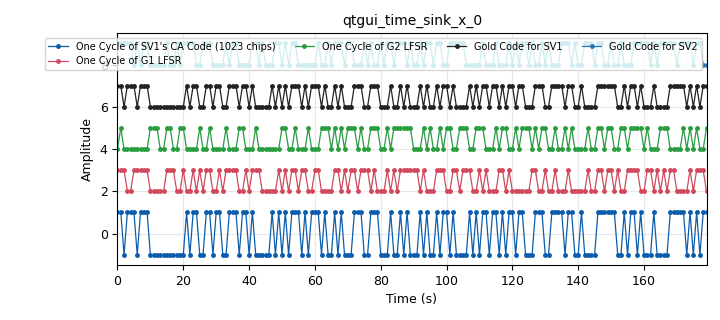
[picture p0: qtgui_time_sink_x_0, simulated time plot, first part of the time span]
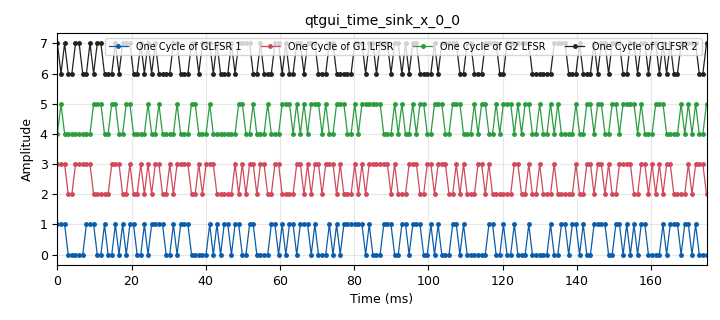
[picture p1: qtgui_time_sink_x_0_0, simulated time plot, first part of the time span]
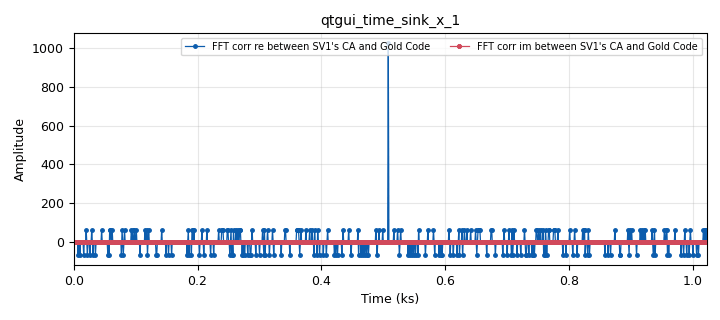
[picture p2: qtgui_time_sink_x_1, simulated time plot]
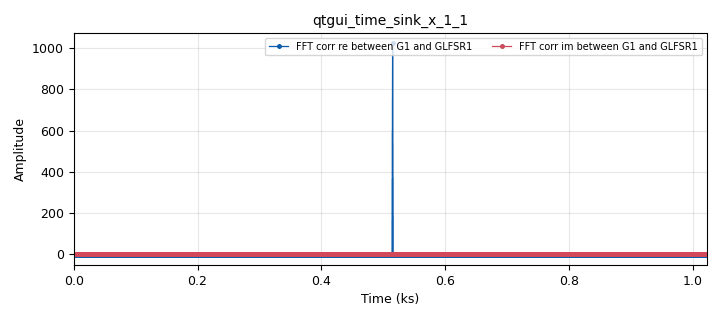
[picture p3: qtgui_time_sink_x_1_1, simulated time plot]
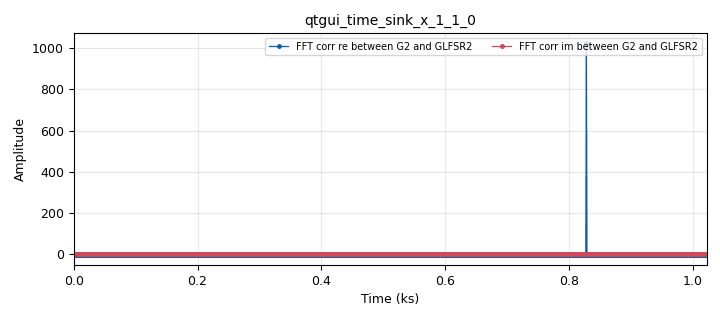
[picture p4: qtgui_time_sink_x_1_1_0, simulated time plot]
options:
  parameters:
    author: jason
    generate_options: qt_gui
    generator_class_name: PythonQtGuiGenerator
    generator_module: gnuradio.grc.workflows.python_qt_gui
    id: lesson22_GPS_cacode_Gold_Code_LFSR_check_known_cacodes
    output_language: python
    title: GPS_cacode_Gold_Code_LFSR
  states: {}

blocks:
- name: GPS_ID
  id: variable
  parameters:
    value: '1'
  states: {}
- name: samp_rate
  id: variable
  parameters:
    value: 1023e3
  states: {}
- name: vector_size
  id: variable
  parameters:
    value: 2**10-1
  states: {}
- name: vector_size_0
  id: variable
  parameters:
    value: 2**10-1
  states: {}
- name: vector_size_0_0
  id: variable
  parameters:
    value: 2**10-1
  states: {}
- name: GPScacodes
  id: epy_module
  parameters:
    comment: |-
      C/A codes computed here instead of
      being read from GPScacodes.py
    source_code: |
      # GPS C/A (Gold) codes, generated from the two 10-stage LFSRs (see Lessons 21-22).
      # cacodes[prn] is a list of 1023 chips, +1/-1, for PRN 1..32 (the same convention as the
      # old GPScacodes.py file: shift-register bit 1 -> +1, bit 0 -> -1).
      TAPS = {1: (2, 6), 2: (3, 7), 3: (4, 8), 4: (5, 9), 5: (1, 9), 6: (2, 10), 7: (1, 8), 8: (2, 9),
              9: (3, 10), 10: (2, 3), 11: (3, 4), 12: (5, 6), 13: (6, 7), 14: (7, 8), 15: (8, 9), 16: (9, 10),
              17: (1, 4), 18: (2, 5), 19: (3, 6), 20: (4, 7), 21: (5, 8), 22: (6, 9), 23: (1, 3), 24: (4, 6),
              25: (5, 7), 26: (6, 8), 27: (7, 9), 28: (8, 10), 29: (1, 6), 30: (2, 7), 31: (3, 8), 32: (4, 9)}

      def cacode(prn):
          g1 = [1] * 10
          g2 = [1] * 10
          t1, t2 = TAPS[prn]
          chips = []
          for _ in range(1023):
              bit = g1[9] ^ g2[t1 - 1] ^ g2[t2 - 1]
              chips.append(2 * bit - 1)
              f1 = g1[2] ^ g1[9]                                   # G1 taps 3, 10
              f2 = g2[1] ^ g2[2] ^ g2[5] ^ g2[7] ^ g2[8] ^ g2[9]   # G2 taps 2, 3, 6, 8, 9, 10
              g1 = [f1] + g1[:9]
              g2 = [f2] + g2[:9]
          return chips

      cacodes = [None] + [cacode(prn) for prn in range(1, 33)]
  states: {}
- name: analog_const_source_x_0
  id: analog_const_source_x
  parameters:
    const: '0'
    type: byte
  states: {}
- name: analog_const_source_x_1
  id: analog_const_source_x
  parameters:
    const: '0'
    type: float
  states: {}
- name: analog_const_source_x_1_0
  id: analog_const_source_x
  parameters:
    const: '0'
    type: float
  states: {}
- name: analog_const_source_x_1_0_0
  id: analog_const_source_x
  parameters:
    const: '0'
    type: float
  states: {}
- name: blocks_add_const_vxx_0
  id: blocks_add_const_vxx
  parameters:
    comment: offset plot
    const: '2'
    type: byte
  states: {}
- name: blocks_add_const_vxx_0_0
  id: blocks_add_const_vxx
  parameters:
    comment: offset plot
    const: '4'
    type: byte
  states: {}
- name: blocks_add_const_vxx_0_0_0
  id: blocks_add_const_vxx
  parameters:
    comment: offset plot
    const: '6'
    type: byte
  states: {}
- name: blocks_add_const_vxx_0_0_0_0
  id: blocks_add_const_vxx
  parameters:
    comment: offset plot
    const: '8'
    type: byte
  states: {}
- name: blocks_add_const_vxx_1
  id: blocks_add_const_vxx
  parameters:
    const: '6'
    type: float
  states: {}
- name: blocks_add_const_vxx_2
  id: blocks_add_const_vxx
  parameters:
    const: '1'
    type: float
  states: {}
- name: blocks_add_const_vxx_2_0
  id: blocks_add_const_vxx
  parameters:
    const: '1'
    type: float
  states: {}
- name: blocks_char_to_float_0_0_0
  id: blocks_char_to_float
  parameters:
    scale: '1'
  states: {}
- name: blocks_char_to_float_0_0_0_0
  id: blocks_char_to_float
  parameters:
    scale: '1'
  states: {}
- name: blocks_char_to_float_0_0_0_0_0
  id: blocks_char_to_float
  parameters:
    scale: '1'
  states: {}
- name: blocks_char_to_float_0_0_0_0_0_0
  id: blocks_char_to_float
  parameters:
    scale: '1'
  states: {}
- name: blocks_char_to_float_0_0_0_0_0_1
  id: blocks_char_to_float
  parameters:
    scale: '1'
  states: {}
- name: blocks_char_to_float_0_0_0_0_0_1_0
  id: blocks_char_to_float
  parameters:
    scale: '1'
  states: {}
- name: blocks_char_to_float_0_0_0_0_0_1_0_0
  id: blocks_char_to_float
  parameters:
    scale: '1'
  states: {}
- name: blocks_char_to_float_0_0_0_0_0_1_0_1
  id: blocks_char_to_float
  parameters:
    scale: '1'
  states: {}
- name: blocks_char_to_float_0_0_0_0_0_1_0_2
  id: blocks_char_to_float
  parameters:
    scale: '1'
  states: {}
- name: blocks_char_to_float_0_0_0_3
  id: blocks_char_to_float
  parameters:
    scale: '1'
  states: {}
- name: blocks_char_to_float_0_0_0_3_1
  id: blocks_char_to_float
  parameters:
    scale: '1'
  states: {}
- name: blocks_delay_0
  id: blocks_delay
  parameters:
    comment: '1'
    delay: '1'
    type: byte
  states: {}
- name: blocks_delay_0_0
  id: blocks_delay
  parameters:
    comment: '2'
    delay: '1'
    type: byte
  states: {}
- name: blocks_delay_0_0_0
  id: blocks_delay
  parameters:
    comment: '3'
    delay: '1'
    type: byte
  states: {}
- name: blocks_delay_0_0_0_0
  id: blocks_delay
  parameters:
    comment: '4'
    delay: '1'
    type: byte
  states: {}
- name: blocks_delay_0_0_0_0_0
  id: blocks_delay
  parameters:
    comment: '5'
    delay: '1'
    type: byte
  states: {}
- name: blocks_delay_0_0_0_0_0_0
  id: blocks_delay
  parameters:
    comment: '6'
    delay: '1'
    type: byte
  states: {}
- name: blocks_delay_0_0_0_0_0_0_0
  id: blocks_delay
  parameters:
    comment: '7'
    delay: '1'
    type: byte
  states: {}
- name: blocks_delay_0_0_0_0_0_0_0_0
  id: blocks_delay
  parameters:
    comment: '10'
    delay: '1'
    type: byte
  states: {}
- name: blocks_delay_0_0_0_0_0_0_0_0_0
  id: blocks_delay
  parameters:
    comment: '10'
    delay: '1'
    type: byte
  states: {}
- name: blocks_delay_0_0_0_0_0_0_0_0_0_0
  id: blocks_delay
  parameters:
    comment: '10'
    delay: '1'
    type: byte
  states: {}
- name: blocks_delay_0_0_0_0_0_0_0_0_0_0_0
  id: blocks_delay
  parameters:
    comment: '10'
    delay: '1'
    type: byte
  states: {}
- name: blocks_delay_0_0_0_0_0_0_0_1
  id: blocks_delay
  parameters:
    comment: '7'
    delay: '1'
    type: byte
  states: {}
- name: blocks_delay_0_0_0_0_0_0_0_1_0
  id: blocks_delay
  parameters:
    comment: '7'
    delay: '1'
    type: byte
  states: {}
- name: blocks_delay_0_0_0_0_0_0_0_1_0_0
  id: blocks_delay
  parameters:
    comment: '7'
    delay: '1'
    type: byte
  states: {}
- name: blocks_delay_0_0_0_0_0_0_1
  id: blocks_delay
  parameters:
    comment: '9'
    delay: '1'
    type: byte
  states: {}
- name: blocks_delay_0_0_0_0_0_0_1_0
  id: blocks_delay
  parameters:
    comment: '9'
    delay: '1'
    type: byte
  states: {}
- name: blocks_delay_0_0_0_0_0_0_1_0_0
  id: blocks_delay
  parameters:
    comment: '9'
    delay: '1'
    type: byte
  states: {}
- name: blocks_delay_0_0_0_0_0_0_1_0_0_0
  id: blocks_delay
  parameters:
    comment: '9'
    delay: '1'
    type: byte
  states: {}
- name: blocks_delay_0_0_0_0_0_0_2
  id: blocks_delay
  parameters:
    comment: '6'
    delay: '1'
    type: byte
  states: {}
- name: blocks_delay_0_0_0_0_0_0_2_0
  id: blocks_delay
  parameters:
    comment: '6'
    delay: '1'
    type: byte
  states: {}
- name: blocks_delay_0_0_0_0_0_0_2_0_0
  id: blocks_delay
  parameters:
    comment: '6'
    delay: '1'
    type: byte
  states: {}
- name: blocks_delay_0_0_0_0_0_1
  id: blocks_delay
  parameters:
    comment: '8'
    delay: '1'
    type: byte
  states: {}
- name: blocks_delay_0_0_0_0_0_1_0
  id: blocks_delay
  parameters:
    comment: '8'
    delay: '1'
    type: byte
  states: {}
- name: blocks_delay_0_0_0_0_0_1_0_0
  id: blocks_delay
  parameters:
    comment: '8'
    delay: '1'
    type: byte
  states: {}
- name: blocks_delay_0_0_0_0_0_1_0_0_0
  id: blocks_delay
  parameters:
    comment: '8'
    delay: '1'
    type: byte
  states: {}
- name: blocks_delay_0_0_0_0_0_2
  id: blocks_delay
  parameters:
    comment: '5'
    delay: '1'
    type: byte
  states: {}
- name: blocks_delay_0_0_0_0_0_2_0
  id: blocks_delay
  parameters:
    comment: '5'
    delay: '1'
    type: byte
  states: {}
- name: blocks_delay_0_0_0_0_0_2_0_0
  id: blocks_delay
  parameters:
    comment: '5'
    delay: '1'
    type: byte
  states: {}
- name: blocks_delay_0_0_0_0_1
  id: blocks_delay
  parameters:
    comment: '4'
    delay: '1'
    type: byte
  states: {}
- name: blocks_delay_0_0_0_0_1_0
  id: blocks_delay
  parameters:
    comment: '4'
    delay: '1'
    type: byte
  states: {}
- name: blocks_delay_0_0_0_0_1_0_0
  id: blocks_delay
  parameters:
    comment: '4'
    delay: '1'
    type: byte
  states: {}
- name: blocks_delay_0_0_0_1
  id: blocks_delay
  parameters:
    comment: '3'
    delay: '1'
    type: byte
  states: {}
- name: blocks_delay_0_0_0_1_0
  id: blocks_delay
  parameters:
    comment: '3'
    delay: '1'
    type: byte
  states: {}
- name: blocks_delay_0_0_0_1_0_0
  id: blocks_delay
  parameters:
    comment: '3'
    delay: '1'
    type: byte
  states: {}
- name: blocks_delay_0_0_1
  id: blocks_delay
  parameters:
    comment: '2'
    delay: '1'
    type: byte
  states: {}
- name: blocks_delay_0_0_1_0
  id: blocks_delay
  parameters:
    comment: '2'
    delay: '1'
    type: byte
  states: {}
- name: blocks_delay_0_0_1_0_0
  id: blocks_delay
  parameters:
    comment: '2'
    delay: '1'
    type: byte
  states: {}
- name: blocks_delay_0_1
  id: blocks_delay
  parameters:
    comment: '1'
    delay: '1'
    type: byte
  states: {}
- name: blocks_delay_0_1_0
  id: blocks_delay
  parameters:
    comment: '1'
    delay: '1'
    type: byte
  states: {}
- name: blocks_delay_0_1_0_0
  id: blocks_delay
  parameters:
    comment: '1'
    delay: '1'
    type: byte
  states: {}
- name: blocks_delay_0_1_0_0_0
  id: blocks_delay
  parameters:
    comment: |-
      to allow the Delay blocks
      in the Scrambler LFSR
      to populate with valid data
    delay: '10'
    type: float
  states: {}
- name: blocks_float_to_char_0
  id: blocks_float_to_char
  parameters:
    scale: '.5'
  states: {}
- name: blocks_float_to_char_0_0
  id: blocks_float_to_char
  parameters:
    scale: '.5'
  states: {}
- name: blocks_float_to_complex_0
  id: blocks_float_to_complex
  parameters: {}
  states: {}
- name: blocks_float_to_complex_0_0
  id: blocks_float_to_complex
  parameters: {}
  states: {}
- name: blocks_float_to_complex_0_0_0
  id: blocks_float_to_complex
  parameters: {}
  states: {}
- name: blocks_float_to_complex_1
  id: blocks_float_to_complex
  parameters: {}
  states: {}
- name: blocks_float_to_complex_1_0
  id: blocks_float_to_complex
  parameters: {}
  states: {}
- name: blocks_float_to_complex_1_0_0
  id: blocks_float_to_complex
  parameters: {}
  states: {}
- name: blocks_multiply_conjugate_cc_0
  id: blocks_multiply_conjugate_cc
  parameters:
    vlen: vector_size
  states: {}
- name: blocks_multiply_conjugate_cc_0_0
  id: blocks_multiply_conjugate_cc
  parameters:
    vlen: vector_size
  states: {}
- name: blocks_multiply_conjugate_cc_0_0_0
  id: blocks_multiply_conjugate_cc
  parameters:
    vlen: vector_size
  states: {}
- name: blocks_multiply_const_vxx_0
  id: blocks_multiply_const_vxx
  parameters:
    const: '[1/vector_size]*vector_size'
    type: complex
    vlen: vector_size
  states: {}
- name: blocks_multiply_const_vxx_0_0
  id: blocks_multiply_const_vxx
  parameters:
    const: '[1/vector_size]*vector_size'
    type: complex
    vlen: vector_size
  states: {}
- name: blocks_multiply_const_vxx_0_0_0
  id: blocks_multiply_const_vxx
  parameters:
    const: '[1/vector_size]*vector_size'
    type: complex
    vlen: vector_size
  states: {}
- name: blocks_stream_to_vector_0_0
  id: blocks_stream_to_vector
  parameters:
    num_items: vector_size
    type: complex
  states: {}
- name: blocks_stream_to_vector_0_0_0
  id: blocks_stream_to_vector
  parameters:
    num_items: vector_size
    type: complex
  states: {}
- name: blocks_stream_to_vector_0_0_0_0
  id: blocks_stream_to_vector
  parameters:
    num_items: vector_size
    type: complex
  states: {}
- name: blocks_stream_to_vector_0_0_0_0_0
  id: blocks_stream_to_vector
  parameters:
    num_items: vector_size
    type: complex
  states: {}
- name: blocks_stream_to_vector_0_0_1
  id: blocks_stream_to_vector
  parameters:
    num_items: vector_size
    type: complex
  states: {}
- name: blocks_stream_to_vector_0_0_1_0
  id: blocks_stream_to_vector
  parameters:
    num_items: vector_size
    type: complex
  states: {}
- name: blocks_throttle_0
  id: blocks_throttle2
  parameters:
    samples_per_second: samp_rate
    type: float
  states: {}
- name: blocks_vector_source_x_0
  id: blocks_vector_source_x
  parameters:
    repeat: 'True'
    type: float
    vector: GPScacodes.cacodes[GPS_ID]
  states: {}
- name: blocks_vector_to_stream_0
  id: blocks_vector_to_stream
  parameters:
    num_items: vector_size
    type: complex
  states: {}
- name: blocks_vector_to_stream_0_0
  id: blocks_vector_to_stream
  parameters:
    num_items: vector_size
    type: complex
  states: {}
- name: blocks_vector_to_stream_0_0_0
  id: blocks_vector_to_stream
  parameters:
    num_items: vector_size
    type: complex
  states: {}
- name: blocks_xor_xx_0
  id: blocks_xor_xx
  parameters:
    comment: SV1 taps 2,6
    type: byte
  states: {}
- name: blocks_xor_xx_0_0
  id: blocks_xor_xx
  parameters:
    comment: SV2 taps 3,7
    type: byte
  states: {}
- name: blocks_xor_xx_1
  id: blocks_xor_xx
  parameters:
    comment: SV1 cacode
    type: byte
  states: {}
- name: blocks_xor_xx_1_0
  id: blocks_xor_xx
  parameters:
    comment: SV2 cacode
    type: byte
  states: {}
- name: digital_glfsr_source_x_0
  id: digital_glfsr_source_x
  parameters:
    comment: |-
      Default for 10 is a shifted
      version G1 LFSR: LFSR: x^10+x^3+1
      Looks like you need to subtract 1 from each power in the mask
      This becomes 2**(10-1) + 2**(3-1).
      Or you could do it normally and then shift right by 1.
      The difference between GLFSR and Scrambler LFSR 
      is a shift, but the amount of shift depends on the polynomial.
      Also, this outputs a float +1 and -1 and needs to be turned into 0s and 1s
    degree: '10'
    mask: 2**(10-1) + 2**(3-1)
    repeat: 'True'
    seed: 2**10-1
    type: float
  states: {}
- name: digital_glfsr_source_x_1
  id: digital_glfsr_source_x
  parameters:
    degree: '10'
    mask: 2**(10-1) + 2**(9-1) + 2**(8-1) + 2**(6-1) + 2**(3-1) + 2**(2-1)
    repeat: 'True'
    seed: 2**10-1
    type: float
  states: {}
- name: digital_map_bb_0
  id: digital_map_bb
  parameters:
    map: '[-1,1]'
  states: {}
- name: digital_map_bb_0_0
  id: digital_map_bb
  parameters:
    map: '[-1,1]'
  states: {}
- name: digital_map_bb_0_0_0
  id: digital_map_bb
  parameters:
    map: '[-1,1]'
  states: {}
- name: digital_map_bb_0_0_1
  id: digital_map_bb
  parameters:
    map: '[-1,1]'
  states: {}
- name: digital_map_bb_0_0_2
  id: digital_map_bb
  parameters:
    map: '[-1,1]'
  states: {}
- name: digital_scrambler_bb_1_0
  id: digital_scrambler_bb
  parameters:
    comment: |-
      G1 LFSR: x^10+x^3+1
      For the scrambler,
      length really means length-1
      GPS documentation's definition 
      of the bits is the opposite order
    len: 10-1
    mask: 2**(10-10) + 2**(10-3)
    seed: 2**10-1
  states: {}
- name: digital_scrambler_bb_1_0_0
  id: digital_scrambler_bb
  parameters:
    comment: 'G2 LFSR:  x^10+x^9+x^8+x^6+x^3+x^2+1'
    len: 10-1
    mask: 2**(10-10) + 2**(10-9) + 2**(10-8) + 2**(10-6) + 2**(10-3) + 2**(10-2)
    seed: 2**10-1
  states: {}
- name: fft_vxx_0
  id: fft_vxx
  parameters:
    fft_size: vector_size
    forward: 'True'
    shift: 'False'
    type: complex
    window: window.rectangular(vector_size)
  states: {}
- name: fft_vxx_0_0
  id: fft_vxx
  parameters:
    fft_size: vector_size
    forward: 'True'
    shift: 'False'
    type: complex
    window: window.rectangular(vector_size)
  states: {}
- name: fft_vxx_0_0_0
  id: fft_vxx
  parameters:
    fft_size: vector_size
    forward: 'True'
    shift: 'False'
    type: complex
    window: window.rectangular(vector_size)
  states: {}
- name: fft_vxx_0_0_0_0
  id: fft_vxx
  parameters:
    fft_size: vector_size
    forward: 'True'
    shift: 'False'
    type: complex
    window: window.rectangular(vector_size)
  states: {}
- name: fft_vxx_0_1
  id: fft_vxx
  parameters:
    fft_size: vector_size
    forward: 'True'
    shift: 'False'
    type: complex
    window: window.rectangular(vector_size)
  states: {}
- name: fft_vxx_0_1_0
  id: fft_vxx
  parameters:
    fft_size: vector_size
    forward: 'True'
    shift: 'False'
    type: complex
    window: window.rectangular(vector_size)
  states: {}
- name: fft_vxx_1
  id: fft_vxx
  parameters:
    fft_size: vector_size
    forward: 'False'
    shift: 'False'
    type: complex
    window: window.rectangular(vector_size)
  states: {}
- name: fft_vxx_1_0
  id: fft_vxx
  parameters:
    fft_size: vector_size
    forward: 'False'
    shift: 'False'
    type: complex
    window: window.rectangular(vector_size)
  states: {}
- name: fft_vxx_1_0_0
  id: fft_vxx
  parameters:
    fft_size: vector_size
    forward: 'False'
    shift: 'False'
    type: complex
    window: window.rectangular(vector_size)
  states: {}
- name: gps_taps_note
  id: note
  parameters:
    comment: |-
      GPS C/A code: G2 taps for each satellite (IS-GPS-200, Table 3-Ia)
      C/A = G1[10] xor G2[t1] xor G2[t2]   (delay n = tap n)
      PRN 1: 2,6    PRN 2: 3,7    PRN 3: 4,8    PRN 4: 5,9
      PRN 5: 1,9    PRN 6: 2,10   PRN 7: 1,8    PRN 8: 2,9
      PRN 9: 3,10   PRN 10: 2,3   PRN 11: 3,4   PRN 12: 5,6
      PRN 13: 6,7   PRN 14: 7,8   PRN 15: 8,9   PRN 16: 9,10
      PRN 17: 1,4   PRN 18: 2,5   PRN 19: 3,6   PRN 20: 4,7
      PRN 21: 5,8   PRN 22: 6,9   PRN 23: 1,3   PRN 24: 4,6
      PRN 25: 5,7   PRN 26: 6,8   PRN 27: 7,9   PRN 28: 8,10
      PRN 29: 1,6   PRN 30: 2,7   PRN 31: 3,8   PRN 32: 4,9
      (All 32 verified against the IS-GPS-200 first-10-chip table, Oct 2026.)
    note: G2 taps for every GPS satellite
  states: {}
- name: qtgui_time_sink_x_0
  id: qtgui_time_sink_x
  parameters:
    autoscale: 'True'
    label1: One Cycle of SV1's CA Code (1023 chips)
    label2: One Cycle of G1 LFSR
    label3: One Cycle of G2 LFSR
    label4: Gold Code for SV1
    label5: Gold Code for SV2
    marker1: '0'
    marker2: '0'
    marker3: '0'
    marker4: '0'
    marker5: '0'
    nconnections: '5'
    size: '1023'
    srate: '1'
    type: float
  states: {}
- name: qtgui_time_sink_x_0_0
  id: qtgui_time_sink_x
  parameters:
    autoscale: 'True'
    label1: One Cycle of GLFSR 1
    label2: One Cycle of G1 LFSR
    label3: One Cycle of G2 LFSR
    label4: One Cycle of GLFSR 2
    marker1: '0'
    marker2: '0'
    marker3: '0'
    marker4: '0'
    nconnections: '4'
    size: '1023'
    srate: '1023'
    type: float
  states: {}
- name: qtgui_time_sink_x_1
  id: qtgui_time_sink_x
  parameters:
    autoscale: 'True'
    label1: FFT corr re between SV1's CA and Gold Code
    label2: FFT corr im between SV1's CA and Gold Code
    marker1: '0'
    marker2: '0'
    size: vector_size
    srate: '1'
    type: complex
  states: {}
- name: qtgui_time_sink_x_1_1
  id: qtgui_time_sink_x
  parameters:
    autoscale: 'True'
    label1: FFT corr re between G1 and GLFSR1
    label2: FFT corr im between G1 and GLFSR1
    marker1: '0'
    marker2: '0'
    size: vector_size
    srate: '1'
    type: complex
  states: {}
- name: qtgui_time_sink_x_1_1_0
  id: qtgui_time_sink_x
  parameters:
    autoscale: 'True'
    label1: FFT corr re between G2 and GLFSR2
    label2: FFT corr im between G2 and GLFSR2
    marker1: '0'
    marker2: '0'
    size: vector_size
    srate: '1'
    type: complex
  states: {}
- name: virtual_sink_0
  id: virtual_sink
  parameters:
    stream_id: GLFSR1
  states: {}
- name: virtual_sink_0_0
  id: virtual_sink
  parameters:
    stream_id: GLFSR2
  states: {}
- name: virtual_sink_0_0_0
  id: virtual_sink
  parameters:
    stream_id: G2
  states: {}
- name: virtual_sink_0_0_0_0
  id: virtual_sink
  parameters:
    stream_id: G1
  states: {}
- name: virtual_sink_0_0_0_2
  id: virtual_sink
  parameters:
    stream_id: SV1CA
  states: {}
- name: virtual_sink_0_0_0_2_0
  id: virtual_sink
  parameters:
    stream_id: SV2CA
  states: {}
- name: virtual_source_0
  id: virtual_source
  parameters:
    stream_id: SV1CA
  states: {}
- name: virtual_source_0_0
  id: virtual_source
  parameters:
    stream_id: G1
  states: {}
- name: virtual_source_0_1
  id: virtual_source
  parameters:
    stream_id: GLFSR1
  states: {}
- name: virtual_source_0_2
  id: virtual_source
  parameters:
    stream_id: G2
  states: {}
- name: virtual_source_0_3
  id: virtual_source
  parameters:
    stream_id: GLFSR2
  states: {}

connections:
- [analog_const_source_x_0, '0', digital_scrambler_bb_1_0, '0']
- [analog_const_source_x_0, '0', digital_scrambler_bb_1_0_0, '0']
- [analog_const_source_x_1, '0', blocks_float_to_complex_0, '1']
- [analog_const_source_x_1, '0', blocks_float_to_complex_1, '1']
- [analog_const_source_x_1_0, '0', blocks_float_to_complex_0_0, '1']
- [analog_const_source_x_1_0, '0', blocks_float_to_complex_1_0, '1']
- [analog_const_source_x_1_0_0, '0', blocks_float_to_complex_0_0_0, '1']
- [analog_const_source_x_1_0_0, '0', blocks_float_to_complex_1_0_0, '1']
- [blocks_add_const_vxx_0, '0', blocks_char_to_float_0_0_0, '0']
- [blocks_add_const_vxx_0_0, '0', blocks_char_to_float_0_0_0_0, '0']
- [blocks_add_const_vxx_0_0_0, '0', blocks_char_to_float_0_0_0_0_0, '0']
- [blocks_add_const_vxx_0_0_0_0, '0', blocks_char_to_float_0_0_0_0_0_0, '0']
- [blocks_add_const_vxx_1, '0', qtgui_time_sink_x_0_0, '3']
- [blocks_add_const_vxx_2, '0', blocks_float_to_char_0, '0']
- [blocks_add_const_vxx_2_0, '0', blocks_float_to_char_0_0, '0']
- [blocks_char_to_float_0_0_0, '0', qtgui_time_sink_x_0, '1']
- [blocks_char_to_float_0_0_0, '0', qtgui_time_sink_x_0_0, '1']
- [blocks_char_to_float_0_0_0_0, '0', qtgui_time_sink_x_0, '2']
- [blocks_char_to_float_0_0_0_0, '0', qtgui_time_sink_x_0_0, '2']
- [blocks_char_to_float_0_0_0_0_0, '0', qtgui_time_sink_x_0, '3']
- [blocks_char_to_float_0_0_0_0_0_0, '0', qtgui_time_sink_x_0, '4']
- [blocks_char_to_float_0_0_0_0_0_1, '0', blocks_float_to_complex_1, '0']
- [blocks_char_to_float_0_0_0_0_0_1_0, '0', blocks_float_to_complex_0_0, '0']
- [blocks_char_to_float_0_0_0_0_0_1_0_0, '0', blocks_float_to_complex_1_0, '0']
- [blocks_char_to_float_0_0_0_0_0_1_0_1, '0', blocks_float_to_complex_0_0_0, '0']
- [blocks_char_to_float_0_0_0_0_0_1_0_2, '0', blocks_float_to_complex_1_0_0, '0']
- [blocks_char_to_float_0_0_0_3, '0', qtgui_time_sink_x_0_0, '0']
- [blocks_char_to_float_0_0_0_3_1, '0', blocks_add_const_vxx_1, '0']
- [blocks_delay_0, '0', blocks_delay_0_0, '0']
- [blocks_delay_0_0, '0', blocks_delay_0_0_0, '0']
- [blocks_delay_0_0, '0', blocks_xor_xx_0, '1']
- [blocks_delay_0_0_0, '0', blocks_delay_0_0_0_0, '0']
- [blocks_delay_0_0_0, '0', blocks_xor_xx_0_0, '1']
- [blocks_delay_0_0_0_0, '0', blocks_delay_0_0_0_0_0, '0']
- [blocks_delay_0_0_0_0_0, '0', blocks_delay_0_0_0_0_0_0, '0']
- [blocks_delay_0_0_0_0_0_0, '0', blocks_delay_0_0_0_0_0_0_0, '0']
- [blocks_delay_0_0_0_0_0_0, '0', blocks_xor_xx_0, '0']
- [blocks_delay_0_0_0_0_0_0_0, '0', blocks_delay_0_0_0_0_0_1, '0']
- [blocks_delay_0_0_0_0_0_0_0, '0', blocks_xor_xx_0_0, '0']
- [blocks_delay_0_0_0_0_0_0_0_0, '0', blocks_add_const_vxx_0_0, '0']
- [blocks_delay_0_0_0_0_0_0_0_0, '0', virtual_sink_0_0_0, '0']
- [blocks_delay_0_0_0_0_0_0_0_0_0, '0', blocks_add_const_vxx_0, '0']
- [blocks_delay_0_0_0_0_0_0_0_0_0, '0', blocks_xor_xx_1, '0']
- [blocks_delay_0_0_0_0_0_0_0_0_0, '0', blocks_xor_xx_1_0, '0']
- [blocks_delay_0_0_0_0_0_0_0_0_0, '0', virtual_sink_0_0_0_0, '0']
- [blocks_delay_0_0_0_0_0_0_0_0_0_0, '0', blocks_char_to_float_0_0_0_3, '0']
- [blocks_delay_0_0_0_0_0_0_0_0_0_0, '0', virtual_sink_0, '0']
- [blocks_delay_0_0_0_0_0_0_0_0_0_0_0, '0', blocks_char_to_float_0_0_0_3_1, '0']
- [blocks_delay_0_0_0_0_0_0_0_0_0_0_0, '0', virtual_sink_0_0, '0']
- [blocks_delay_0_0_0_0_0_0_0_1, '0', blocks_delay_0_0_0_0_0_1_0, '0']
- [blocks_delay_0_0_0_0_0_0_0_1_0, '0', blocks_delay_0_0_0_0_0_1_0_0, '0']
- [blocks_delay_0_0_0_0_0_0_0_1_0_0, '0', blocks_delay_0_0_0_0_0_1_0_0_0, '0']
- [blocks_delay_0_0_0_0_0_0_1, '0', blocks_delay_0_0_0_0_0_0_0_0, '0']
- [blocks_delay_0_0_0_0_0_0_1_0, '0', blocks_delay_0_0_0_0_0_0_0_0_0, '0']
- [blocks_delay_0_0_0_0_0_0_1_0_0, '0', blocks_delay_0_0_0_0_0_0_0_0_0_0, '0']
- [blocks_delay_0_0_0_0_0_0_1_0_0_0, '0', blocks_delay_0_0_0_0_0_0_0_0_0_0_0, '0']
- [blocks_delay_0_0_0_0_0_0_2, '0', blocks_delay_0_0_0_0_0_0_0_1, '0']
- [blocks_delay_0_0_0_0_0_0_2_0, '0', blocks_delay_0_0_0_0_0_0_0_1_0, '0']
- [blocks_delay_0_0_0_0_0_0_2_0_0, '0', blocks_delay_0_0_0_0_0_0_0_1_0_0, '0']
- [blocks_delay_0_0_0_0_0_1, '0', blocks_delay_0_0_0_0_0_0_1, '0']
- [blocks_delay_0_0_0_0_0_1_0, '0', blocks_delay_0_0_0_0_0_0_1_0, '0']
- [blocks_delay_0_0_0_0_0_1_0_0, '0', blocks_delay_0_0_0_0_0_0_1_0_0, '0']
- [blocks_delay_0_0_0_0_0_1_0_0_0, '0', blocks_delay_0_0_0_0_0_0_1_0_0_0, '0']
- [blocks_delay_0_0_0_0_0_2, '0', blocks_delay_0_0_0_0_0_0_2, '0']
- [blocks_delay_0_0_0_0_0_2_0, '0', blocks_delay_0_0_0_0_0_0_2_0, '0']
- [blocks_delay_0_0_0_0_0_2_0_0, '0', blocks_delay_0_0_0_0_0_0_2_0_0, '0']
- [blocks_delay_0_0_0_0_1, '0', blocks_delay_0_0_0_0_0_2, '0']
- [blocks_delay_0_0_0_0_1_0, '0', blocks_delay_0_0_0_0_0_2_0, '0']
- [blocks_delay_0_0_0_0_1_0_0, '0', blocks_delay_0_0_0_0_0_2_0_0, '0']
- [blocks_delay_0_0_0_1, '0', blocks_delay_0_0_0_0_1, '0']
- [blocks_delay_0_0_0_1_0, '0', blocks_delay_0_0_0_0_1_0, '0']
- [blocks_delay_0_0_0_1_0_0, '0', blocks_delay_0_0_0_0_1_0_0, '0']
- [blocks_delay_0_0_1, '0', blocks_delay_0_0_0_1, '0']
- [blocks_delay_0_0_1_0, '0', blocks_delay_0_0_0_1_0, '0']
- [blocks_delay_0_0_1_0_0, '0', blocks_delay_0_0_0_1_0_0, '0']
- [blocks_delay_0_1, '0', blocks_delay_0_0_1, '0']
- [blocks_delay_0_1_0, '0', blocks_delay_0_0_1_0, '0']
- [blocks_delay_0_1_0_0, '0', blocks_delay_0_0_1_0_0, '0']
- [blocks_delay_0_1_0_0_0, '0', blocks_float_to_complex_0, '0']
- [blocks_delay_0_1_0_0_0, '0', qtgui_time_sink_x_0, '0']
- [blocks_float_to_char_0, '0', blocks_delay_0_1_0, '0']
- [blocks_float_to_char_0_0, '0', blocks_delay_0_1_0_0, '0']
- [blocks_float_to_complex_0, '0', blocks_stream_to_vector_0_0_0, '0']
- [blocks_float_to_complex_0_0, '0', blocks_stream_to_vector_0_0_0_0, '0']
- [blocks_float_to_complex_0_0_0, '0', blocks_stream_to_vector_0_0_0_0_0, '0']
- [blocks_float_to_complex_1, '0', blocks_stream_to_vector_0_0, '0']
- [blocks_float_to_complex_1_0, '0', blocks_stream_to_vector_0_0_1, '0']
- [blocks_float_to_complex_1_0_0, '0', blocks_stream_to_vector_0_0_1_0, '0']
- [blocks_multiply_conjugate_cc_0, '0', fft_vxx_1, '0']
- [blocks_multiply_conjugate_cc_0_0, '0', fft_vxx_1_0, '0']
- [blocks_multiply_conjugate_cc_0_0_0, '0', fft_vxx_1_0_0, '0']
- [blocks_multiply_const_vxx_0, '0', blocks_vector_to_stream_0, '0']
- [blocks_multiply_const_vxx_0_0, '0', blocks_vector_to_stream_0_0, '0']
- [blocks_multiply_const_vxx_0_0_0, '0', blocks_vector_to_stream_0_0_0, '0']
- [blocks_stream_to_vector_0_0, '0', fft_vxx_0_0, '0']
- [blocks_stream_to_vector_0_0_0, '0', fft_vxx_0, '0']
- [blocks_stream_to_vector_0_0_0_0, '0', fft_vxx_0_1, '0']
- [blocks_stream_to_vector_0_0_0_0_0, '0', fft_vxx_0_1_0, '0']
- [blocks_stream_to_vector_0_0_1, '0', fft_vxx_0_0_0, '0']
- [blocks_stream_to_vector_0_0_1_0, '0', fft_vxx_0_0_0_0, '0']
- [blocks_throttle_0, '0', blocks_delay_0_1_0_0_0, '0']
- [blocks_vector_source_x_0, '0', blocks_throttle_0, '0']
- [blocks_vector_to_stream_0, '0', qtgui_time_sink_x_1, '0']
- [blocks_vector_to_stream_0_0, '0', qtgui_time_sink_x_1_1, '0']
- [blocks_vector_to_stream_0_0_0, '0', qtgui_time_sink_x_1_1_0, '0']
- [blocks_xor_xx_0, '0', blocks_xor_xx_1, '1']
- [blocks_xor_xx_0_0, '0', blocks_xor_xx_1_0, '1']
- [blocks_xor_xx_1, '0', blocks_add_const_vxx_0_0_0, '0']
- [blocks_xor_xx_1, '0', virtual_sink_0_0_0_2, '0']
- [blocks_xor_xx_1_0, '0', blocks_add_const_vxx_0_0_0_0, '0']
- [blocks_xor_xx_1_0, '0', virtual_sink_0_0_0_2_0, '0']
- [digital_glfsr_source_x_0, '0', blocks_add_const_vxx_2, '0']
- [digital_glfsr_source_x_1, '0', blocks_add_const_vxx_2_0, '0']
- [digital_map_bb_0, '0', blocks_char_to_float_0_0_0_0_0_1, '0']
- [digital_map_bb_0_0, '0', blocks_char_to_float_0_0_0_0_0_1_0, '0']
- [digital_map_bb_0_0_0, '0', blocks_char_to_float_0_0_0_0_0_1_0_0, '0']
- [digital_map_bb_0_0_1, '0', blocks_char_to_float_0_0_0_0_0_1_0_1, '0']
- [digital_map_bb_0_0_2, '0', blocks_char_to_float_0_0_0_0_0_1_0_2, '0']
- [digital_scrambler_bb_1_0, '0', blocks_delay_0_1, '0']
- [digital_scrambler_bb_1_0_0, '0', blocks_delay_0, '0']
- [fft_vxx_0, '0', blocks_multiply_conjugate_cc_0, '0']
- [fft_vxx_0_0, '0', blocks_multiply_conjugate_cc_0, '1']
- [fft_vxx_0_0_0, '0', blocks_multiply_conjugate_cc_0_0, '1']
- [fft_vxx_0_0_0_0, '0', blocks_multiply_conjugate_cc_0_0_0, '1']
- [fft_vxx_0_1, '0', blocks_multiply_conjugate_cc_0_0, '0']
- [fft_vxx_0_1_0, '0', blocks_multiply_conjugate_cc_0_0_0, '0']
- [fft_vxx_1, '0', blocks_multiply_const_vxx_0, '0']
- [fft_vxx_1_0, '0', blocks_multiply_const_vxx_0_0, '0']
- [fft_vxx_1_0_0, '0', blocks_multiply_const_vxx_0_0_0, '0']
- [virtual_source_0, '0', digital_map_bb_0, '0']
- [virtual_source_0_0, '0', digital_map_bb_0_0, '0']
- [virtual_source_0_1, '0', digital_map_bb_0_0_0, '0']
- [virtual_source_0_2, '0', digital_map_bb_0_0_1, '0']
- [virtual_source_0_3, '0', digital_map_bb_0_0_2, '0']

metadata:
  file_format: 1
  grc_version: 3.10.12.0
